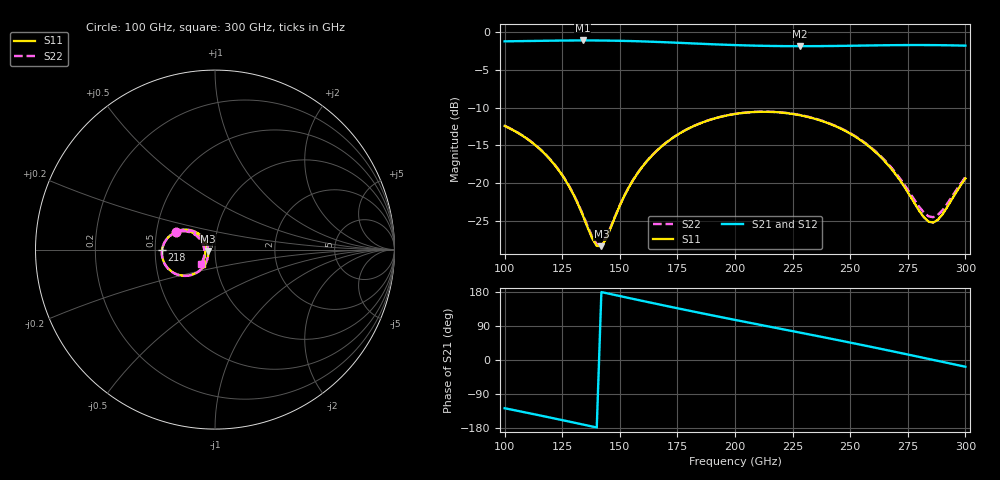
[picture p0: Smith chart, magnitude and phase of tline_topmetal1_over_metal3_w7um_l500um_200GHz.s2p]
#  GHZ S DB R 50
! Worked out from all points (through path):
!   101 points, 100 GHz to 300 GHz, reference 50 ohm
!   highest |S21| = -1.13 dB at 134 GHz (marker M1); lowest = -1.9 dB at 228 GHz (marker M2)
!   group delay of S21, straight-line fit = 3.45 ps
!   lowest |S11| = -28.3 dB at 142 GHz (marker M3), VSWR 1.08, Z = 46.4 - j0.855 ohm
!   |S11| at or under -10 dB: start of sweep to end of sweep
!   |S22| runs from -28.1 to -10.5 dB; largest |S21 - S12| = 9.4e-14
!   S11 on the Smith chart (normalised r, x): 100 GHz: 0.63, +0.13; 218 GHz: 0.54, -0.00; 300 GHz: 0.85, -0.14
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100  -12.42 155.1  -1.24 -127.3  -1.24 -127.3  -12.40 155.6
110  -14.18 145.2  -1.21 -139.6  -1.21 -139.6  -14.16 145.7
120  -16.94 137.3  -1.16 -152.2  -1.16 -152.2  -16.91 138.0
128  -20.42 135.4  -1.14 -162.5  -1.14 -162.5  -20.36 136.2
134  -24.28 142.8  -1.13 -170.3  -1.13 -170.3  -24.16 143.8
138  -27.27 160.5  -1.13 -175.5  -1.13 -175.5  -27.06 161.3
140  -28.27 176.0  -1.14 -178.1  -1.14 -178.1  -28.02 176.4
142  -28.31 -166.1  -1.14 179.3  -1.14 179.3  -28.08 -166.3
156  -19.47 -123.8  -1.22 160.9  -1.22 160.9  -19.44 -123.9
168  -15.17 -130.0  -1.35 145.5  -1.35 145.5  -15.15 -129.9
184  -12.19 -145.0  -1.55 125.3  -1.55 125.3  -12.18 -144.6
200  -10.85 -161.3  -1.74 105.9  -1.74 105.9  -10.83 -160.8
218  -10.61 -179.5  -1.87 84.4  -1.87 84.4  -10.59 -178.8
228  -11.00 170.6  -1.89 72.5  -1.89 72.5  -10.97 171.4
234  -11.42 164.8  -1.88 65.4  -1.88 65.4  -11.39 165.7
252  -13.80 148.9  -1.82 43.5  -1.82 43.5  -13.74 150.2
260  -15.60 143.6  -1.79 33.5  -1.79 33.5  -15.51 145.2
268  -18.14 141.4  -1.76 23.4  -1.76 23.4  -17.97 143.4
282  -24.51 166.1  -1.74 5.5  -1.74 5.5  -23.88 167.7
286  -25.20 -172.7  -1.75 0.3  -1.75 0.3  -24.48 -173.0
290  -24.13 -152.6  -1.76 -4.9  -1.76 -4.9  -23.58 -154.5
300  -19.36 -133.0  -1.82 -17.8  -1.82 -17.8  -19.18 -134.8
